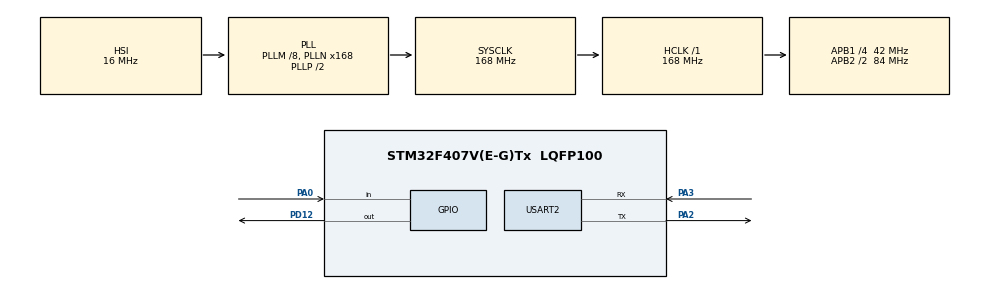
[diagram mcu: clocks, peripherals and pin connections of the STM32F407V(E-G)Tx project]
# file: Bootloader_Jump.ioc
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Mcu.Family=STM32F4
Mcu.Name=STM32F407V(E-G)Tx
Mcu.Package=LQFP100
NVIC.PriorityGroup=NVIC_PRIORITYGROUP_4
PA0-WKUP.Signal=GPIO_Input
PA2.Mode=Asynchronous
PA2.Signal=USART2_TX
PA3.Mode=Asynchronous
PA3.Signal=USART2_RX
PD12.Signal=GPIO_Output
ProjectManager.HeapSize=0x200
ProjectManager.StackSize=0x400
ProjectManager.TargetToolchain=STM32CubeIDE
RCC.48MHZClocksFreq_Value=84000000
RCC.AHBFreq_Value=168000000
RCC.APB1CLKDivider=RCC_HCLK_DIV4
RCC.APB1Freq_Value=42000000
RCC.APB1TimFreq_Value=84000000
RCC.APB2CLKDivider=RCC_HCLK_DIV2
RCC.APB2Freq_Value=84000000
RCC.APB2TimFreq_Value=168000000
RCC.CortexFreq_Value=168000000
RCC.HCLKFreq_Value=168000000
RCC.HSE_VALUE=25000000
RCC.HSI_VALUE=16000000
RCC.LSE_VALUE=32768
RCC.PLLM=8
RCC.PLLN=168
RCC.SYSCLKFreq_VALUE=168000000
RCC.SYSCLKSource=RCC_SYSCLKSOURCE_PLLCLK
RCC.VCOOutputFreq_Value=336000000
USART2.VirtualMode=VM_ASYNC
board=custom

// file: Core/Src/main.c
/* USER CODE BEGIN Header */
/**
  ******************************************************************************
  * @file           : main.c
  * @brief          : Main program body
  ******************************************************************************
  * @attention
  *
  * Copyright (c) 2026 STMicroelectronics.
  * All rights reserved.
  *
  * This software is licensed under terms that can be found in the LICENSE file
  * in the root directory of this software component.
  * If no LICENSE file comes with this software, it is provided AS-IS.
  *
  ******************************************************************************
  */
/* USER CODE END Header */
#include "main.h"

/* USER CODE BEGIN Includes */
#include <stdio.h>
/* USER CODE END Includes */

UART_HandleTypeDef huart2;

/* USER CODE BEGIN PV */
/* Address of ST's ROM bootloader on STM32F4 series (from AN2606) */
#define BOOTLOADER_ADDRESS  0x1FFF0000

/* Magic number used as a flag to survive software reset in SRAM.
   Unlikely to appear in stack memory by accident. */
#define BOOTLOADER_FLAG     0xDEADBEEF

/* startup code will not zero this variable.
   This guarantees the flag survives a software reset. */
__attribute__((section(".noinit"))) uint32_t bootloader_flag;
/* _estack is defined in the linker script — points to top of RAM.
   We store our flag just below it since stack space survives reset. */
extern uint32_t _estack;
/* USER CODE END PV */

void SystemClock_Config(void);
static void MX_GPIO_Init(void);
static void MX_USART2_UART_Init(void);

/* USER CODE BEGIN 0 */
int _write(int file, char *ptr, int len)
{
    HAL_UART_Transmit(&huart2, (uint8_t*)ptr, len, HAL_MAX_DELAY);
    return len;
}
/* USER CODE END 0 */

int main(void)
{

  /* USER CODE BEGIN 1 */
	 /* Check if a bootloader jump was requested before anything initializes.
	     The flag is stored just below _estack — stack space survives software reset.
	     If found, clear it and jump to ST's ROM bootloader at 0x1FFF0004. */
	  if (bootloader_flag == BOOTLOADER_FLAG)
	  {
	      /* Clear the flag so we don't loop back into bootloader on next reset */
	      bootloader_flag = 0;

	      /* Read the Reset Handler address from ROM bootloader's vector table
	         (address + 4) and jump to it via function pointer */
	      void (*bootloader)(void) = (void (*)(void))(*((uint32_t*)(BOOTLOADER_ADDRESS + 4)));
	      bootloader();
	  }
  /* USER CODE END 1 */

  /* MCU Configuration--------------------------------------------------------*/

  /* Reset of all peripherals, Initializes the Flash interface and the Systick. */
  HAL_Init();

  /* Configure the system clock */
  SystemClock_Config();

  /* Initialize all configured peripherals */
  MX_GPIO_Init();
  MX_USART2_UART_Init();
  /* USER CODE BEGIN 2 */
  printf("System started\r\n");
  /* USER CODE END 2 */

  /* Infinite loop */
  while (1)
  {

    /* USER CODE BEGIN 3 */

	  /* Poll B1 button (PA0) — when pressed, request jump to bootloader.
	     Disable interrupts first to prevent anything corrupting the flag
	     between writing it and the reset firing. */

	  if(HAL_GPIO_ReadPin(GPIOA, GPIO_PIN_0) == GPIO_PIN_SET)
	  {
		  printf("Bootloader jump requested\r\n");
		  HAL_Delay(100); /* Small delay to let printf finish transmitting */

		  __disable_irq(); /* Disable all interrupts before writing flag */
		  bootloader_flag = BOOTLOADER_FLAG;
		  NVIC_SystemReset();

	  }
  }
  /* USER CODE END 3 */
}

void SystemClock_Config(void)
{
  RCC_OscInitTypeDef RCC_OscInitStruct = {0};
  RCC_ClkInitTypeDef RCC_ClkInitStruct = {0};

  /** Configure the main internal regulator output voltage
  */
  __HAL_RCC_PWR_CLK_ENABLE();
  __HAL_PWR_VOLTAGESCALING_CONFIG(PWR_REGULATOR_VOLTAGE_SCALE1);

  /** Initializes the RCC Oscillators according to the specified parameters
  * in the RCC_OscInitTypeDef structure.
  */
  RCC_OscInitStruct.OscillatorType = RCC_OSCILLATORTYPE_HSI;
  RCC_OscInitStruct.HSIState = RCC_HSI_ON;
  RCC_OscInitStruct.HSICalibrationValue = RCC_HSICALIBRATION_DEFAULT;
  RCC_OscInitStruct.PLL.PLLState = RCC_PLL_ON;
  RCC_OscInitStruct.PLL.PLLSource = RCC_PLLSOURCE_HSI;
  RCC_OscInitStruct.PLL.PLLM = 8;
  RCC_OscInitStruct.PLL.PLLN = 168;
  RCC_OscInitStruct.PLL.PLLP = RCC_PLLP_DIV2;
  RCC_OscInitStruct.PLL.PLLQ = 4;
  if (HAL_RCC_OscConfig(&RCC_OscInitStruct) != HAL_OK)
  {
    Error_Handler();
  }

  /** Initializes the CPU, AHB and APB buses clocks
  */
  RCC_ClkInitStruct.ClockType = RCC_CLOCKTYPE_HCLK|RCC_CLOCKTYPE_SYSCLK
                              |RCC_CLOCKTYPE_PCLK1|RCC_CLOCKTYPE_PCLK2;
  RCC_ClkInitStruct.SYSCLKSource = RCC_SYSCLKSOURCE_PLLCLK;
  RCC_ClkInitStruct.AHBCLKDivider = RCC_SYSCLK_DIV1;
  RCC_ClkInitStruct.APB1CLKDivider = RCC_HCLK_DIV4;
  RCC_ClkInitStruct.APB2CLKDivider = RCC_HCLK_DIV2;

  if (HAL_RCC_ClockConfig(&RCC_ClkInitStruct, FLASH_LATENCY_5) != HAL_OK)
  {
    Error_Handler();
  }
}

static void MX_USART2_UART_Init(void)
{

  huart2.Instance = USART2;
  huart2.Init.BaudRate = 115200;
  huart2.Init.WordLength = UART_WORDLENGTH_8B;
  huart2.Init.StopBits = UART_STOPBITS_1;
  huart2.Init.Parity = UART_PARITY_NONE;
  huart2.Init.Mode = UART_MODE_TX_RX;
  huart2.Init.HwFlowCtl = UART_HWCONTROL_NONE;
  huart2.Init.OverSampling = UART_OVERSAMPLING_16;
  if (HAL_UART_Init(&huart2) != HAL_OK)
  {
    Error_Handler();
  }

}

static void MX_GPIO_Init(void)
{
  GPIO_InitTypeDef GPIO_InitStruct = {0};

  /* GPIO Ports Clock Enable */
  __HAL_RCC_GPIOA_CLK_ENABLE();
  __HAL_RCC_GPIOD_CLK_ENABLE();

  /*Configure GPIO pin Output Level */
  HAL_GPIO_WritePin(GPIOD, GPIO_PIN_12, GPIO_PIN_RESET);

  /*Configure GPIO pin : PA0 */
  GPIO_InitStruct.Pin = GPIO_PIN_0;
  GPIO_InitStruct.Mode = GPIO_MODE_INPUT;
  GPIO_InitStruct.Pull = GPIO_NOPULL;
  HAL_GPIO_Init(GPIOA, &GPIO_InitStruct);

  /*Configure GPIO pin : PD12 */
  GPIO_InitStruct.Pin = GPIO_PIN_12;
  GPIO_InitStruct.Mode = GPIO_MODE_OUTPUT_PP;
  GPIO_InitStruct.Pull = GPIO_NOPULL;
  GPIO_InitStruct.Speed = GPIO_SPEED_FREQ_LOW;
  HAL_GPIO_Init(GPIOD, &GPIO_InitStruct);

}

void Error_Handler(void)
{
  __disable_irq();
  while (1)
  {
  }
}
